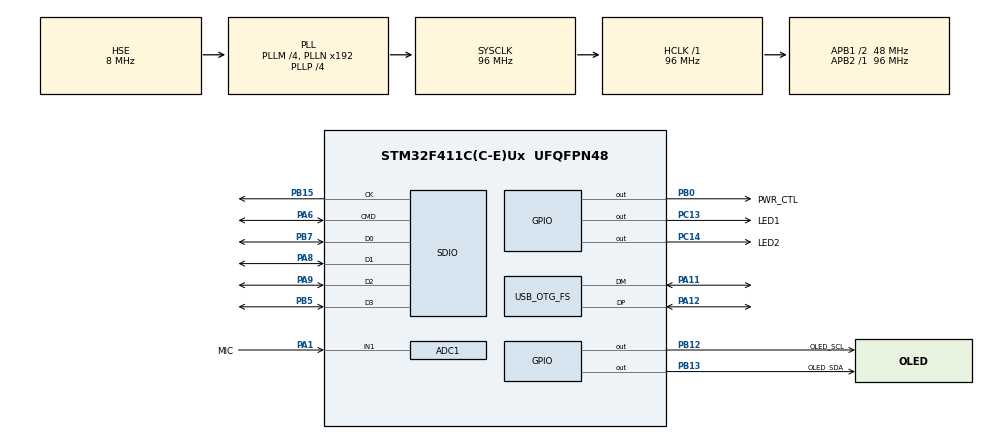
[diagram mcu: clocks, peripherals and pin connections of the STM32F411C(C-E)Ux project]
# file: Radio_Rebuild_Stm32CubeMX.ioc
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ADC1.Channel-0\#ChannelRegularConversion=ADC_CHANNEL_1
ADC1.ClockPrescaler=ADC_CLOCK_SYNC_PCLK_DIV4
ADC1.DMAContinuousRequests=ENABLE
ADC1.ExternalTrigConv=ADC_EXTERNALTRIGCONV_T3_TRGO
ADC1.NbrOfConversion=1
ADC1.NbrOfConversionFlag=1
ADC1.Rank-0\#ChannelRegularConversion=1
ADC1.SamplingTime-0\#ChannelRegularConversion=ADC_SAMPLETIME_3CYCLES
ADC1.master=1
Dma.ADC1.0.Direction=DMA_PERIPH_TO_MEMORY
Dma.ADC1.0.FIFOMode=DMA_FIFOMODE_DISABLE
Dma.ADC1.0.Instance=DMA2_Stream0
Dma.ADC1.0.MemDataAlignment=DMA_MDATAALIGN_HALFWORD
Dma.ADC1.0.MemInc=DMA_MINC_ENABLE
Dma.ADC1.0.Mode=DMA_CIRCULAR
Dma.ADC1.0.PeriphDataAlignment=DMA_PDATAALIGN_HALFWORD
Dma.ADC1.0.PeriphInc=DMA_PINC_DISABLE
Dma.ADC1.0.Priority=DMA_PRIORITY_VERY_HIGH
Dma.Request0=ADC1
Dma.Request1=SDIO_RX
Dma.Request2=SDIO_TX
Dma.SDIO_RX.1.Direction=DMA_PERIPH_TO_MEMORY
Dma.SDIO_RX.1.FIFOMode=DMA_FIFOMODE_ENABLE
Dma.SDIO_RX.1.FIFOThreshold=DMA_FIFO_THRESHOLD_FULL
Dma.SDIO_RX.1.Instance=DMA2_Stream3
Dma.SDIO_RX.1.MemBurst=DMA_MBURST_INC4
Dma.SDIO_RX.1.MemDataAlignment=DMA_MDATAALIGN_WORD
Dma.SDIO_RX.1.MemInc=DMA_MINC_ENABLE
Dma.SDIO_RX.1.Mode=DMA_PFCTRL
Dma.SDIO_RX.1.PeriphBurst=DMA_PBURST_INC4
Dma.SDIO_RX.1.PeriphDataAlignment=DMA_PDATAALIGN_WORD
Dma.SDIO_RX.1.PeriphInc=DMA_PINC_DISABLE
Dma.SDIO_RX.1.Priority=DMA_PRIORITY_VERY_HIGH
Dma.SDIO_TX.2.Direction=DMA_MEMORY_TO_PERIPH
Dma.SDIO_TX.2.FIFOMode=DMA_FIFOMODE_ENABLE
Dma.SDIO_TX.2.FIFOThreshold=DMA_FIFO_THRESHOLD_FULL
Dma.SDIO_TX.2.Instance=DMA2_Stream6
Dma.SDIO_TX.2.MemBurst=DMA_MBURST_INC4
Dma.SDIO_TX.2.MemDataAlignment=DMA_MDATAALIGN_WORD
Dma.SDIO_TX.2.MemInc=DMA_MINC_ENABLE
Dma.SDIO_TX.2.Mode=DMA_PFCTRL
Dma.SDIO_TX.2.PeriphBurst=DMA_PBURST_INC4
Dma.SDIO_TX.2.PeriphDataAlignment=DMA_PDATAALIGN_WORD
Dma.SDIO_TX.2.PeriphInc=DMA_PINC_DISABLE
Dma.SDIO_TX.2.Priority=DMA_PRIORITY_VERY_HIGH
FATFS.USE_DMA_CODE_SD=1
FATFS._CODE_PAGE=950
FATFS._FS_NORTC=0
FATFS._STRF_ENCODE=0
FATFS._USE_LFN=2
Mcu.Family=STM32F4
Mcu.Name=STM32F411C(C-E)Ux
Mcu.Package=UFQFPN48
NVIC.DMA2_Stream0_IRQn=true\:0\:0\:true\:false\:true\:false
NVIC.DMA2_Stream3_IRQn=true\:0\:0\:true\:false\:true\:false
NVIC.DMA2_Stream6_IRQn=true\:0\:0\:true\:false\:true\:false
NVIC.OTG_FS_IRQn=true\:0\:0\:false\:false\:true\:false
NVIC.PriorityGroup=NVIC_PRIORITYGROUP_4
NVIC.SDIO_IRQn=true\:0\:0\:true\:false\:true\:true
NVIC.TIM3_IRQn=true\:0\:0\:true\:false\:true\:true
PA1.GPIO_Label=MIC
PA1.Signal=ADCx_IN1
PA11.Mode=Device_Only
PA11.Signal=USB_OTG_FS_DM
PA12.Mode=Device_Only
PA12.Signal=USB_OTG_FS_DP
PA6.Mode=SD_4_bits_Wide_bus
PA6.Signal=SDIO_CMD
PA8.Mode=SD_4_bits_Wide_bus
PA8.Signal=SDIO_D1
PA9.Mode=SD_4_bits_Wide_bus
PA9.Signal=SDIO_D2
PB0.GPIO_Label=PWR_CTL
PB0.Signal=GPIO_Output
PB12.GPIO_Label=OLED_SCL
PB12.Signal=GPIO_Output
PB13.GPIO_Label=OLED_SDA
PB13.Signal=GPIO_Output
PB15.Mode=SD_4_bits_Wide_bus
PB15.Signal=SDIO_CK
PB5.Mode=SD_4_bits_Wide_bus
PB5.Signal=SDIO_D3
PB7.Mode=SD_4_bits_Wide_bus
PB7.Signal=SDIO_D0
PC13-ANTI_TAMP.GPIO_Label=LED1
PC13-ANTI_TAMP.Signal=GPIO_Output
PC14-OSC32_IN.GPIO_Label=LED2
PC14-OSC32_IN.Signal=GPIO_Output
PH0\ -\ OSC_IN.Mode=HSE-External-Oscillator
PH0\ -\ OSC_IN.Signal=RCC_OSC_IN
PH1\ -\ OSC_OUT.Mode=HSE-External-Oscillator
PH1\ -\ OSC_OUT.Signal=RCC_OSC_OUT
ProjectManager.HeapSize=0x8000
ProjectManager.StackSize=0x1000
ProjectManager.TargetToolchain=MDK-ARM V5
RCC.48MHZClocksFreq_Value=48000000
RCC.AHBFreq_Value=96000000
RCC.APB1CLKDivider=RCC_HCLK_DIV2
RCC.APB1Freq_Value=48000000
RCC.APB1TimFreq_Value=96000000
RCC.APB2Freq_Value=96000000
RCC.APB2TimFreq_Value=96000000
RCC.CortexFreq_Value=96000000
RCC.HCLKFreq_Value=96000000
RCC.HSE_VALUE=8000000
RCC.HSI_VALUE=16000000
RCC.LSE_VALUE=32768
RCC.PLLM=4
RCC.PLLP=RCC_PLLP_DIV4
RCC.PLLQ=8
RCC.SYSCLKFreq_VALUE=96000000
RCC.SYSCLKSource=RCC_SYSCLKSOURCE_PLLCLK
RCC.VCOOutputFreq_Value=384000000
SDIO.ClockDiv=0
SH.ADCx_IN1.0=ADC1_IN1,IN1
TIM3.Period=11999
TIM3.Prescaler=0
TIM3.TIM_MasterOutputTrigger=TIM_TRGO_UPDATE
USB_DEVICE.CLASS_NAME_FS=MSC
USB_DEVICE.VirtualMode=Msc
USB_DEVICE.VirtualModeFS=Msc_FS
USB_OTG_FS.VirtualMode=Device_Only
VP_FATFS_VS_SDIO.Mode=SDIO
VP_TIM3_VS_ClockSourceINT.Mode=Internal
VP_USB_DEVICE_VS_USB_DEVICE_MSC_FS.Mode=MSC_FS
board=custom

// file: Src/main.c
/* USER CODE BEGIN Header */
/**
  ******************************************************************************
  * @file           : main.c
  * @brief          : Main program body
  ******************************************************************************
  ** This notice applies to any and all portions of this file
  * that are not between comment pairs USER CODE BEGIN and
  * USER CODE END. Other portions of this file, whether
  * inserted by the user or by software development tools
  * are owned by their respective copyright owners.
  *
  * COPYRIGHT(c) 2018 STMicroelectronics
  *
  * Redistribution and use in source and binary forms, with or without modification,
  * are permitted provided that the following conditions are met:
  *   1. Redistributions of source code must retain the above copyright notice,
  *      this list of conditions and the following disclaimer.
  *   2. Redistributions in binary form must reproduce the above copyright notice,
  *      this list of conditions and the following disclaimer in the documentation
  *      and/or other materials provided with the distribution.
  *   3. Neither the name of STMicroelectronics nor the names of its contributors
  *      may be used to endorse or promote products derived from this software
  *      without specific prior written permission.
  *
  * THIS SOFTWARE IS PROVIDED BY THE COPYRIGHT HOLDERS AND CONTRIBUTORS "AS IS"
  * AND ANY EXPRESS OR IMPLIED WARRANTIES, INCLUDING, BUT NOT LIMITED TO, THE
  * IMPLIED WARRANTIES OF MERCHANTABILITY AND FITNESS FOR A PARTICULAR PURPOSE ARE
  * DISCLAIMED. IN NO EVENT SHALL THE COPYRIGHT HOLDER OR CONTRIBUTORS BE LIABLE
  * FOR ANY DIRECT, INDIRECT, INCIDENTAL, SPECIAL, EXEMPLARY, OR CONSEQUENTIAL
  * DAMAGES (INCLUDING, BUT NOT LIMITED TO, PROCUREMENT OF SUBSTITUTE GOODS OR
  * SERVICES; LOSS OF USE, DATA, OR PROFITS; OR BUSINESS INTERRUPTION) HOWEVER
  * CAUSED AND ON ANY THEORY OF LIABILITY, WHETHER IN CONTRACT, STRICT LIABILITY,
  * OR TORT (INCLUDING NEGLIGENCE OR OTHERWISE) ARISING IN ANY WAY OUT OF THE USE
  * OF THIS SOFTWARE, EVEN IF ADVISED OF THE POSSIBILITY OF SUCH DAMAGE.
  *
  ******************************************************************************
  */
/* USER CODE END Header */

#include "main.h"
#include "fatfs.h"
#include "usb_device.h"

/* USER CODE BEGIN Includes */
#include "fatfs_write_wav.h"
#include "../inc/ringbuffer.h"
#include "malloc.h"
#include <speex/speex.h>
/* USER CODE END Includes */

ADC_HandleTypeDef hadc1;
DMA_HandleTypeDef hdma_adc1;

SD_HandleTypeDef hsd;
DMA_HandleTypeDef hdma_sdio_rx;
DMA_HandleTypeDef hdma_sdio_tx;

TIM_HandleTypeDef htim3;

void SystemClock_Config(void);
static void MX_GPIO_Init(void);
static void MX_DMA_Init(void);
static void MX_ADC1_Init(void);
static void MX_TIM3_Init(void);
static void MX_SDIO_SD_Init(void);
/* USER CODE BEGIN PFP */
DIR dir;
FILINFO inf;
FRESULT sult;
HAL_SD_CardInfoTypeDef sdinf;
/* USER CODE END PFP */

/* USER CODE BEGIN 0 */

char filename4[] = "0:/hahaha.wav";

unsigned int i = 16*1024*1;

SpeexBits bits;/* Holds bits so they can be read and written by the Speex routines */
void *enc_state, *dec_state;/* Holds the states of the encoder & the decoder */
int quality = 4, complexity=1, vbr=0, enh=1;/* SPEEX PARAMETERS, MUST REMAINED UNCHANGED */
int frame_size;
void Speex_Init(void)
{
  /* Speex encoding initializations */
  speex_bits_init(&bits);
  enc_state = speex_encoder_init(&speex_nb_mode);
  speex_encoder_ctl(enc_state, SPEEX_SET_VBR, &vbr);
  speex_encoder_ctl(enc_state, SPEEX_SET_QUALITY,&quality);
  speex_encoder_ctl(enc_state, SPEEX_SET_COMPLEXITY, &complexity);

	speex_encoder_ctl(enc_state,SPEEX_GET_SAMPLING_RATE,&frame_size);

  /* speex decoding intilalization */
  dec_state = speex_decoder_init(&speex_nb_mode);
  speex_decoder_ctl(dec_state, SPEEX_SET_ENH, &enh);
}

/* USER CODE END 0 */

int main(void)
{

  /* MCU Configuration--------------------------------------------------------*/

  /* Reset of all peripherals, Initializes the Flash interface and the Systick. */
  HAL_Init();

  /* USER CODE BEGIN Init */
	my_mem_init(SRAMIN);
  /* USER CODE END Init */

  /* Configure the system clock */
  SystemClock_Config();

  /* Initialize all configured peripherals */
  MX_GPIO_Init();
  MX_DMA_Init();
  MX_ADC1_Init();
  MX_TIM3_Init();
  MX_SDIO_SD_Init();
  MX_FATFS_Init();
  MX_USB_DEVICE_Init();
  /* USER CODE BEGIN 2 */
	HAL_GPIO_WritePin(GPIOB,PWR_CTL_Pin,1);
	HAL_Delay(1000);
	my_mem_init(0);
	Speex_Init();

  retSD = f_mount(&SDFatFS, "0:", 1);
	initial_recoder("0:/12345",8000);
	start_recoder();
	i = 0x7fffffff;
	while(i--)
	{
		//HAL_Delay(1);
		tick_recoder();
	}
	stop_recoder();
  /* USER CODE END 2 */

  /* Infinite loop */
  while (1)
  {

  }
}

void SystemClock_Config(void)
{
  RCC_OscInitTypeDef RCC_OscInitStruct = {0};
  RCC_ClkInitTypeDef RCC_ClkInitStruct = {0};

  /**Configure the main internal regulator output voltage
  */
  __HAL_RCC_PWR_CLK_ENABLE();
  __HAL_PWR_VOLTAGESCALING_CONFIG(PWR_REGULATOR_VOLTAGE_SCALE1);
  /**Initializes the CPU, AHB and APB busses clocks
  */
  RCC_OscInitStruct.OscillatorType = RCC_OSCILLATORTYPE_HSE;
  RCC_OscInitStruct.HSEState = RCC_HSE_ON;
  RCC_OscInitStruct.PLL.PLLState = RCC_PLL_ON;
  RCC_OscInitStruct.PLL.PLLSource = RCC_PLLSOURCE_HSE;
  RCC_OscInitStruct.PLL.PLLM = 4;
  RCC_OscInitStruct.PLL.PLLN = 192;
  RCC_OscInitStruct.PLL.PLLP = RCC_PLLP_DIV4;
  RCC_OscInitStruct.PLL.PLLQ = 8;
  if (HAL_RCC_OscConfig(&RCC_OscInitStruct) != HAL_OK)
  {
    Error_Handler();
  }
  /**Initializes the CPU, AHB and APB busses clocks
  */
  RCC_ClkInitStruct.ClockType = RCC_CLOCKTYPE_HCLK|RCC_CLOCKTYPE_SYSCLK
                              |RCC_CLOCKTYPE_PCLK1|RCC_CLOCKTYPE_PCLK2;
  RCC_ClkInitStruct.SYSCLKSource = RCC_SYSCLKSOURCE_PLLCLK;
  RCC_ClkInitStruct.AHBCLKDivider = RCC_SYSCLK_DIV1;
  RCC_ClkInitStruct.APB1CLKDivider = RCC_HCLK_DIV2;
  RCC_ClkInitStruct.APB2CLKDivider = RCC_HCLK_DIV1;

  if (HAL_RCC_ClockConfig(&RCC_ClkInitStruct, FLASH_LATENCY_3) != HAL_OK)
  {
    Error_Handler();
  }
}

static void MX_ADC1_Init(void)
{

  ADC_ChannelConfTypeDef sConfig = {0};

  /**Configure the global features of the ADC (Clock, Resolution, Data Alignment and number of conversion)
  */
  hadc1.Instance = ADC1;
  hadc1.Init.ClockPrescaler = ADC_CLOCK_SYNC_PCLK_DIV4;
  hadc1.Init.Resolution = ADC_RESOLUTION_12B;
  hadc1.Init.ScanConvMode = DISABLE;
  hadc1.Init.ContinuousConvMode = DISABLE;
  hadc1.Init.DiscontinuousConvMode = DISABLE;
  hadc1.Init.ExternalTrigConvEdge = ADC_EXTERNALTRIGCONVEDGE_RISING;
  hadc1.Init.ExternalTrigConv = ADC_EXTERNALTRIGCONV_T3_TRGO;
  hadc1.Init.DataAlign = ADC_DATAALIGN_RIGHT;
  hadc1.Init.NbrOfConversion = 1;
  hadc1.Init.DMAContinuousRequests = ENABLE;
  hadc1.Init.EOCSelection = ADC_EOC_SINGLE_CONV;
  if (HAL_ADC_Init(&hadc1) != HAL_OK)
  {
    Error_Handler();
  }
  /**Configure for the selected ADC regular channel its corresponding rank in the sequencer and its sample time.
  */
  sConfig.Channel = ADC_CHANNEL_1;
  sConfig.Rank = 1;
  sConfig.SamplingTime = ADC_SAMPLETIME_3CYCLES;
  if (HAL_ADC_ConfigChannel(&hadc1, &sConfig) != HAL_OK)
  {
    Error_Handler();
  }

}

static void MX_SDIO_SD_Init(void)
{

  hsd.Instance = SDIO;
  hsd.Init.ClockEdge = SDIO_CLOCK_EDGE_RISING;
  hsd.Init.ClockBypass = SDIO_CLOCK_BYPASS_DISABLE;
  hsd.Init.ClockPowerSave = SDIO_CLOCK_POWER_SAVE_DISABLE;
  hsd.Init.BusWide = SDIO_BUS_WIDE_1B;
  hsd.Init.HardwareFlowControl = SDIO_HARDWARE_FLOW_CONTROL_DISABLE;
  hsd.Init.ClockDiv = 0;

}

static void MX_TIM3_Init(void)
{

  TIM_ClockConfigTypeDef sClockSourceConfig = {0};
  TIM_MasterConfigTypeDef sMasterConfig = {0};

  htim3.Instance = TIM3;
  htim3.Init.Prescaler = 0;
  htim3.Init.CounterMode = TIM_COUNTERMODE_UP;
  htim3.Init.Period = 11999;
  htim3.Init.ClockDivision = TIM_CLOCKDIVISION_DIV1;
  if (HAL_TIM_Base_Init(&htim3) != HAL_OK)
  {
    Error_Handler();
  }
  sClockSourceConfig.ClockSource = TIM_CLOCKSOURCE_INTERNAL;
  if (HAL_TIM_ConfigClockSource(&htim3, &sClockSourceConfig) != HAL_OK)
  {
    Error_Handler();
  }
  sMasterConfig.MasterOutputTrigger = TIM_TRGO_UPDATE;
  sMasterConfig.MasterSlaveMode = TIM_MASTERSLAVEMODE_DISABLE;
  if (HAL_TIMEx_MasterConfigSynchronization(&htim3, &sMasterConfig) != HAL_OK)
  {
    Error_Handler();
  }

}

static void MX_DMA_Init(void)
{
  /* DMA controller clock enable */
  __HAL_RCC_DMA2_CLK_ENABLE();

  /* DMA interrupt init */
  /* DMA2_Stream0_IRQn interrupt configuration */
  HAL_NVIC_SetPriority(DMA2_Stream0_IRQn, 0, 0);
  HAL_NVIC_EnableIRQ(DMA2_Stream0_IRQn);
  /* DMA2_Stream3_IRQn interrupt configuration */
  HAL_NVIC_SetPriority(DMA2_Stream3_IRQn, 0, 0);
  HAL_NVIC_EnableIRQ(DMA2_Stream3_IRQn);
  /* DMA2_Stream6_IRQn interrupt configuration */
  HAL_NVIC_SetPriority(DMA2_Stream6_IRQn, 0, 0);
  HAL_NVIC_EnableIRQ(DMA2_Stream6_IRQn);

}

static void MX_GPIO_Init(void)
{
  GPIO_InitTypeDef GPIO_InitStruct = {0};

  /* GPIO Ports Clock Enable */
  __HAL_RCC_GPIOC_CLK_ENABLE();
  __HAL_RCC_GPIOH_CLK_ENABLE();
  __HAL_RCC_GPIOA_CLK_ENABLE();
  __HAL_RCC_GPIOB_CLK_ENABLE();

  /*Configure GPIO pin Output Level */
  HAL_GPIO_WritePin(GPIOC, LED1_Pin|LED2_Pin, GPIO_PIN_RESET);

  /*Configure GPIO pin Output Level */
  HAL_GPIO_WritePin(GPIOB, PWR_CTL_Pin|OLED_SCL_Pin|OLED_SDA_Pin, GPIO_PIN_RESET);

  /*Configure GPIO pins : LED1_Pin LED2_Pin */
  GPIO_InitStruct.Pin = LED1_Pin|LED2_Pin;
  GPIO_InitStruct.Mode = GPIO_MODE_OUTPUT_PP;
  GPIO_InitStruct.Pull = GPIO_NOPULL;
  GPIO_InitStruct.Speed = GPIO_SPEED_FREQ_LOW;
  HAL_GPIO_Init(GPIOC, &GPIO_InitStruct);

  /*Configure GPIO pins : PWR_CTL_Pin OLED_SCL_Pin OLED_SDA_Pin */
  GPIO_InitStruct.Pin = PWR_CTL_Pin|OLED_SCL_Pin|OLED_SDA_Pin;
  GPIO_InitStruct.Mode = GPIO_MODE_OUTPUT_PP;
  GPIO_InitStruct.Pull = GPIO_NOPULL;
  GPIO_InitStruct.Speed = GPIO_SPEED_FREQ_LOW;
  HAL_GPIO_Init(GPIOB, &GPIO_InitStruct);

}

/* USER CODE BEGIN 4 */
/**
  * @brief  Ovveride the _speex_fatal function of the speex library
  * @param  None
  * @retval : None
  */
void _speex_fatal(const char *str, const char *file, int line)
{
  while(1)
  {
  };
}
/**
  * @brief  Ovveride the _speex_putc function of the speex library
  * @param  None
  * @retval : None
  */
void _speex_putc(int ch, void *file)
{
  while(1)
  {
  };
}
/* USER CODE END 4 */

void Error_Handler(void)
{
}

/************************ (C) COPYRIGHT STMicroelectronics *****END OF FILE****/
